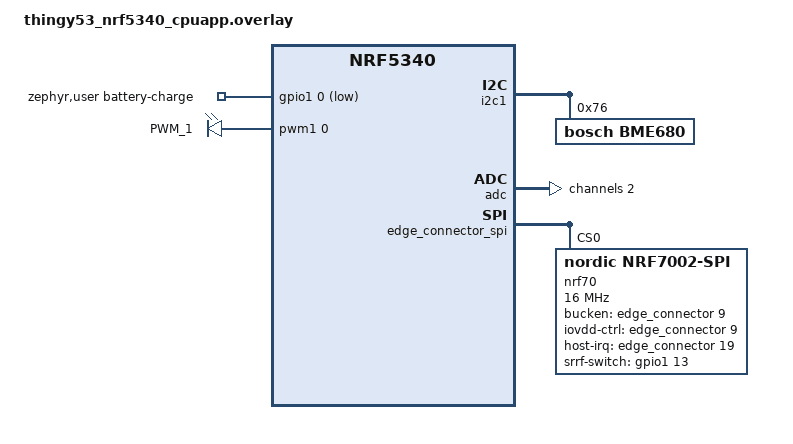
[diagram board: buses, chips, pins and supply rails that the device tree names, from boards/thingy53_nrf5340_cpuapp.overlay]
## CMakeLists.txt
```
# Copyright (c) 2026 Lingao Meng
# SPDX-License-Identifier: Apache-2.0
#
# zbot - An open-source embedded AI Agent for Zephyr RTOS
# Supported boards: nRF7002-DK (nRF5340 + nRF7002 WiFi), native_sim

cmake_minimum_required(VERSION 3.20.0)

find_package(Zephyr REQUIRED HINTS $ENV{ZEPHYR_BASE})

project(zbot VERSION 0.1.0)

target_sources(app PRIVATE
    src/main.c
    src/tools.c
    src/memory.c
    src/config.c
    src/llm_client.c
    src/agent.c
    src/shell_cmd.c
    src/telegram.c
    src/json_util.c
    src/skills/skill.c
)

if(CONFIG_ENVIRONMENT_SENSOR)
    target_sources(app PRIVATE src/env_sensor.c)
endif()

target_include_directories(app PRIVATE src src/skills src/tools)

set(gen_dir ${ZEPHYR_BINARY_DIR}/include/generated/)

# OpenRouter TLS certificate
generate_inc_file_for_target(
    app
    src/certs/openrouter/cert-3.der
    ${gen_dir}/openrouter/https-cert.der.inc
)

configure_file(
    ${CMAKE_CURRENT_SOURCE_DIR}/src/AGENTS.md.in
    ${gen_dir}/AGENTS.md
    @ONLY
)

# Agent system prompt
generate_inc_file_for_target(
    app
    ${gen_dir}/AGENTS.md
    ${gen_dir}/AGENTS.md.inc
)

add_subdirectory(src/tools)
add_subdirectory(src/skills)
```

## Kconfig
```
#
# Copyright (c) 2026 Nordic Semiconductor ASA
#
# SPDX-License-Identifier: LicenseRef-Nordic-5-Clause
#

config ENVIRONMENT_SENSOR
	bool "Environment sensor support"
	default n
	help
	  Enable the environment sensor device for reading temperature,
	  pressure, and humidity.

if ENVIRONMENT_SENSOR

config ENV_SENSOR_GAS_RES_SIM_BASE
	int "Base value of simulated gas resistance value"
	default 10000
	help
	  Gas resistance in Ohm that will be used as a baseline when simulating
	  gas resistance data.

config ENV_SENSOR_GAS_RES_SIM_MAX_DIFF
	int "Max difference from base value of simulated gas resistance"
	default 1000
	help
	  Maximum difference from the base value when simulating gas resistance
	  data.

endif # ENVIRONMENT_SENSOR

config DELAYED_WORK_SKILL
	bool "Delayed work skill support"
	default y
	help
	  Enable delayed work skill for scheduling LLM chat messages
	  with a time delay.

if DELAYED_WORK_SKILL

config DELAYED_WORK_MAX_ITEMS
	int "Maximum number of delayed work items"
	default 3
	range 1 100
	help
	  Maximum number of delayed work items that can be allocated
	  simultaneously. Each item consumes memory for storing the
	  message and work structure.

endif # DELAYED_WORK_SKILL

source "Kconfig.zephyr"
```

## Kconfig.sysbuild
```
#
# Copyright (c) 2024 Nordic Semiconductor ASA
#
# SPDX-License-Identifier: LicenseRef-Nordic-5-Clause
#

config WIFI_NRF70
	default y if BOARD_NRF7002DK_NRF5340_CPUAPP_NS || \
		BOARD_NRF7002DK_NRF5340_CPUAPP || \
		BOARD_THINGY53_NRF5340_CPUAPP || \
		BOARD_NRF54L15DK_NRF54L15_CPUAPP || \
		BOARD_NRF54H20DK_NRF54H20_CPUAPP || \
		BOARD_NRF5340DK_NRF5340_CPUAPP_NS || \
		BOARD_NRF54LM20DK_NRF54LM20A_CPUAPP || \
		BOARD_NRF54LM20DK_NRF54LM20B_CPUAPP

source "share/sysbuild/Kconfig"
```

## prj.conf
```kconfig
# =============================================================================
# zbot - Zephyr AI Agent Configuration (all boards)
# =============================================================================

# --- Kernel / Stack ---
CONFIG_MAIN_STACK_SIZE=2048
CONFIG_SYSTEM_WORKQUEUE_STACK_SIZE=16384

CONFIG_PRINTK=y

# --- Shell (for runtime key configuration) ---
CONFIG_SHELL=y
CONFIG_SHELL_BACKEND_SERIAL=y
CONFIG_SHELL_STACK_SIZE=8172
CONFIG_SHELL_CMD_BUFF_SIZE=512
CONFIG_SHELL_HISTORY=y
CONFIG_SHELL_HISTORY_BUFFER=512
CONFIG_SHELL_LOG_BACKEND=n

# --- Networking ---
CONFIG_NETWORKING=y
CONFIG_NET_IPV4=y
CONFIG_NET_TCP=y
CONFIG_NET_SOCKETS=y
CONFIG_NET_SOCKETS_TLS_MAX_CONTEXTS=4
CONFIG_NET_SOCKETS_TLS_MAX_CREDENTIALS=4
CONFIG_NET_SOCKETS_TLS_MAX_CIPHERSUITES=2
CONFIG_DNS_RESOLVER=y

# --- Network buffers ---
CONFIG_NET_PKT_RX_COUNT=8
CONFIG_NET_PKT_TX_COUNT=8
CONFIG_NET_BUF_RX_COUNT=64
CONFIG_NET_BUF_TX_COUNT=64
# NET_BUF_DATA_SIZE depends on NET_BUF_FIXED_DATA_SIZE; enable the guard first.
CONFIG_NET_BUF_FIXED_DATA_SIZE=y
CONFIG_NET_BUF_DATA_SIZE=256

CONFIG_NET_L2_WIFI_MGMT=y

# --- HTTP Client ---
CONFIG_HTTP_CLIENT=y

# --- TLS / mbedTLS ---
CONFIG_MBEDTLS=y
CONFIG_MBEDTLS_BUILTIN=y
CONFIG_NET_SOCKETS_SOCKOPT_TLS=y
CONFIG_TLS_CREDENTIALS=y
# MBEDTLS_HEAP_SIZE lives inside "if MBEDTLS_ENABLE_HEAP"
CONFIG_MBEDTLS_ENABLE_HEAP=y
CONFIG_MBEDTLS_HEAP_SIZE=65536
CONFIG_MBEDTLS_SSL_MAX_CONTENT_LEN=8192
CONFIG_MBEDTLS_CIPHER_GCM_ENABLED=y
CONFIG_MBEDTLS_SSL_SERVER_NAME_INDICATION=y
CONFIG_MBEDTLS_KEY_EXCHANGE_ECDHE_ECDSA_ENABLED=y

CONFIG_SETTINGS=y
CONFIG_SETTINGS_RUNTIME=y

CONFIG_FLASH=y
CONFIG_FLASH_MAP=y

# --- Logging ---
CONFIG_LOG=y
CONFIG_LOG_DEFAULT_LEVEL=3
CONFIG_LOG_BUFFER_SIZE=4096
CONFIG_LOG_BACKEND_UART=y
CONFIG_PRINTK=y

# --- Reboot support ---
CONFIG_REBOOT=y

CONFIG_POSIX_API=y
#CONFIG_NET_TCP_TIME_WAIT_DELAY=10000

# --- Environment Sensor ---
CONFIG_ENVIRONMENT_SENSOR=y
CONFIG_SENSOR=y

# --- Delayed Work Skill ---
CONFIG_DELAYED_WORK_SKILL=y
CONFIG_NEWLIB_LIBC_FLOAT_PRINTF=y
```

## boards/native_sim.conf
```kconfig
# =============================================================================
# zbot - Board-specific config for native_sim (Linux host simulation)
# =============================================================================

# --- Native networking (offloaded sockets via host stack) ---
# Use the native Linux network stack via offloaded socket API.
CONFIG_NET_DRIVERS=y
CONFIG_NET_SOCKETS_OFFLOAD=y
CONFIG_NET_NATIVE_OFFLOADED_SOCKETS=y
CONFIG_NET_DHCPV4=y

CONFIG_TEST_RANDOM_GENERATOR=y

# --- POSIX / libc ---
# native_sim provides a full libc; enable POSIX API for compatibility.
CONFIG_REQUIRES_FULL_LIBC=y
CONFIG_POSIX_API=y

# Optional but recommended for native_sim + nsos
CONFIG_ETH_NATIVE_TAP=n
CONFIG_NET_IPV6_DAD=n

CONFIG_MBEDTLS_HASH_ALL_ENABLED=y
CONFIG_MBEDTLS_ECP_C=y
CONFIG_MBEDTLS_ECDH_C=y
CONFIG_MBEDTLS_ECDSA_C=y
CONFIG_MBEDTLS_ECP_ALL_ENABLED=y

# --- GPIO emulation ---
# gpio_emul driver is auto-selected by the DTS compatible "zephyr,gpio-emul".
# Explicitly enable it here as a safety net.
CONFIG_GPIO=y
CONFIG_GPIO_EMUL=y

# Debug
CONFIG_NET_LOG=y

# --- Sensor simulator ---
CONFIG_SENSOR=y
CONFIG_SENSOR_SIM=y
```

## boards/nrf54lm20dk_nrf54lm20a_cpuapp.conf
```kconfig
#
# Copyright (c) 2025 Nordic Semiconductor ASA
#
# SPDX-License-Identifier: LicenseRef-Nordic-5-Clause
#

# =============================================================================
# Wi-Fi Driver & Credentials Storage
# Wi-Fi credentials are persisted in ZMS on nRF54 series internal flash.
# Use NVS instead of ZMS on nRF5340.
# =============================================================================
CONFIG_WIFI=y
CONFIG_WIFI_NRF70=y
CONFIG_WIFI_CREDENTIALS=y
CONFIG_FLASH=y
CONFIG_FLASH_PAGE_LAYOUT=y
CONFIG_FLASH_MAP=y
CONFIG_ZMS=y
CONFIG_SETTINGS=y

# =============================================================================
# WPA Supplicant
# =============================================================================
CONFIG_WIFI_NM_WPA_SUPPLICANT=y
CONFIG_WIFI_NM_WPA_SUPPLICANT_LOG_LEVEL_INF=y

# =============================================================================
# L2 Wi-Fi Connectivity Manager
# Automatically manages association; keeps interface up after connect.
# =============================================================================
CONFIG_L2_WIFI_CONNECTIVITY=y
CONFIG_L2_WIFI_CONNECTIVITY_AUTO_CONNECT=y
CONFIG_L2_WIFI_CONNECTIVITY_AUTO_DOWN=n

# =============================================================================
# Network Stack – Core Protocols
# =============================================================================
CONFIG_NET_L2_ETHERNET=y
CONFIG_NET_SOCKETS=y
CONFIG_NET_IPV6=y
CONFIG_NET_UDP=y
CONFIG_NET_TCP=y
CONFIG_NET_DHCPV4=y
CONFIG_DNS_RESOLVER=y
CONFIG_DNS_RESOLVER_AI_MAX_ENTRIES=4

# =============================================================================
# Network Sockets Options
# =============================================================================
CONFIG_NET_SOCKETS_OFFLOAD=n
CONFIG_NET_CONTEXT_SNDTIMEO=y
CONFIG_NET_CONTEXT_RCVTIMEO=y
CONFIG_NET_MAX_CONN=10
CONFIG_NET_MAX_CONTEXTS=10
CONFIG_NET_SOCKETS_TLS_MAX_CONTEXTS=2
CONFIG_ZVFS_POLL_MAX=20

# =============================================================================
# Network Buffers
# Tuned for higher throughput; overrides the initial conservative defaults.
# =============================================================================
CONFIG_NET_PKT_TX_COUNT=20
CONFIG_NET_PKT_RX_COUNT=20
CONFIG_NET_BUF_TX_COUNT=20
CONFIG_NET_BUF_RX_COUNT=20
CONFIG_NET_PKT_BUF_TX_DATA_POOL_SIZE=20000
CONFIG_NET_PKT_BUF_RX_DATA_POOL_SIZE=20000

# =============================================================================
# nRF70 Wi-Fi Driver Tuning
# SPEED_OPTIMIZATIONS is enabled on nRF54 series (disabled on nRF5340).
# =============================================================================
CONFIG_NRF70_AP_MODE=n
CONFIG_NRF70_P2P_MODE=n
CONFIG_NRF70_QSPI_LOW_POWER=n
CONFIG_NRF70_UTIL=n
CONFIG_NRF70_RX_NUM_BUFS=48
CONFIG_NRF70_MAX_TX_AGGREGATION=4
CONFIG_NRF70_MAX_TX_TOKENS=5
CONFIG_SPEED_OPTIMIZATIONS=y

# =============================================================================
# TLS / mbedTLS
# Legacy crypto symbols are needed for TF-M NS builds because
# config_adjust_legacy_from_psa.h is gated behind MBEDTLS_PSA_CRYPTO_C
# (not set on NS side), so MBEDTLS_ECDH_C, MBEDTLS_ECDSA_C, MBEDTLS_RSA_C
# etc. are never auto-derived from PSA_WANT_*. Without them the OID sig-alg
# table and TLS supported_groups are incomplete.
# =============================================================================
CONFIG_NET_SOCKETS_SOCKOPT_TLS=y
CONFIG_NRF_SECURITY=y
CONFIG_MBEDTLS=y
CONFIG_MBEDTLS_ENABLE_HEAP=y
CONFIG_MBEDTLS_SSL_KEEP_PEER_CERTIFICATE=n
CONFIG_MBEDTLS_SSL_SERVER_NAME_INDICATION=y
CONFIG_MBEDTLS_PEM_PARSE_C=y
CONFIG_TLS_CREDENTIALS=y
CONFIG_TLS_CREDENTIALS_BACKEND_VOLATILE=y
CONFIG_MBEDTLS_LEGACY_CRYPTO_C=y
CONFIG_MBEDTLS_ECDH_C=y
CONFIG_MBEDTLS_ECDSA_C=y
CONFIG_MBEDTLS_RSA_C=y
CONFIG_MBEDTLS_ECP_DP_SECP256R1_ENABLED=y
CONFIG_MBEDTLS_ECP_DP_SECP384R1_ENABLED=y

# =============================================================================
# Shell
# =============================================================================
CONFIG_SHELL=y
CONFIG_SHELL_CMDS_RESIZE=n
CONFIG_NET_L2_WIFI_SHELL=y

# =============================================================================
# Kernel / POSIX Options
# Disable unused POSIX subsystems to reduce ROM/RAM footprint.
# =============================================================================
CONFIG_POSIX_NETWORKING=y
CONFIG_POSIX_FD_MGMT=n
CONFIG_POSIX_MESSAGE_PASSING=n
CONFIG_POSIX_THREAD_THREADS_MAX=0

# =============================================================================
# Stack Sizes
# MAIN and SHELL are enlarged because select/poll consume extra stack.
# =============================================================================
CONFIG_NET_TX_STACK_SIZE=2048
CONFIG_NET_RX_STACK_SIZE=2048
CONFIG_NET_MGMT_EVENT_STACK_SIZE=4600
CONFIG_NRF70_IRQ_WQ_STACK_SIZE=1024
CONFIG_NRF70_BH_WQ_STACK_SIZE=2300
CONFIG_ISR_STACK_SIZE=512
CONFIG_MAIN_STACK_SIZE=5200
CONFIG_SHELL_STACK_SIZE=5200

# =============================================================================
# Heap Sizes
# nRF54 series has more RAM; heap pools are set larger than on nRF5340.
# HEAP_MEM_POOL_IGNORE_MIN suppresses the linker error when the combined
# pool size exceeds the internal RAM minimum threshold.
# =============================================================================
CONFIG_HEAP_MEM_POOL_IGNORE_MIN=y
CONFIG_HEAP_MEM_POOL_SIZE=37000
CONFIG_MBEDTLS_HEAP_SIZE=100000
CONFIG_NRF_WIFI_CTRL_HEAP_SIZE=15000
CONFIG_NRF_WIFI_DATA_HEAP_SIZE=100000

# =============================================================================
# Network Logging / Debug
# =============================================================================
#CONFIG_LOG=y
CONFIG_NET_LOG=y
#CONFIG_NET_SOCKETS_LOG_LEVEL_DBG=y
#CONFIG_NET_HTTP_LOG_LEVEL_DBG=n
#CONFIG_NET_IPV6_LOG_LEVEL_DBG=n
#CONFIG_NET_IPV6_ND_LOG_LEVEL_DBG=n

# =============================================================================
# Sensor Simulator
# =============================================================================
CONFIG_SENSOR=y
CONFIG_SENSOR_SIM=y
```

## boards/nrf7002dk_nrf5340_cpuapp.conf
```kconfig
#
# Copyright (c) 2025 Nordic Semiconductor ASA
#
# SPDX-License-Identifier: LicenseRef-Nordic-5-Clause
#

# =============================================================================
# Wi-Fi Driver & Credentials Storage
# Wi-Fi credentials are persisted in NVS on nRF5340 internal flash.
# Use ZMS instead of NVS on nRF54 series.
# =============================================================================
CONFIG_WIFI=y
CONFIG_WIFI_NRF70=y
CONFIG_WIFI_CREDENTIALS=y
CONFIG_FLASH=y
CONFIG_FLASH_PAGE_LAYOUT=y
CONFIG_FLASH_MAP=y
#CONFIG_ZMS=y
CONFIG_NVS=y
CONFIG_SETTINGS=y

# =============================================================================
# WPA Supplicant
# =============================================================================
CONFIG_WIFI_NM_WPA_SUPPLICANT=y
CONFIG_WIFI_NM_WPA_SUPPLICANT_LOG_LEVEL_INF=y

# =============================================================================
# L2 Wi-Fi Connectivity Manager
# Automatically manages association; keeps interface up after connect.
# =============================================================================
CONFIG_L2_WIFI_CONNECTIVITY=y
CONFIG_L2_WIFI_CONNECTIVITY_AUTO_CONNECT=y
CONFIG_L2_WIFI_CONNECTIVITY_AUTO_DOWN=n

# =============================================================================
# Network Stack – Core Protocols
# =============================================================================
CONFIG_NET_L2_ETHERNET=y
CONFIG_NET_SOCKETS=y
CONFIG_NET_IPV6=y
CONFIG_NET_UDP=y
CONFIG_NET_TCP=y
CONFIG_NET_DHCPV4=y
CONFIG_DNS_RESOLVER=y
CONFIG_DNS_RESOLVER_AI_MAX_ENTRIES=4

# =============================================================================
# Network Sockets Options
# =============================================================================
CONFIG_NET_SOCKETS_OFFLOAD=n
CONFIG_NET_CONTEXT_SNDTIMEO=y
CONFIG_NET_CONTEXT_RCVTIMEO=y
CONFIG_NET_MAX_CONN=10
CONFIG_NET_MAX_CONTEXTS=10
CONFIG_NET_SOCKETS_TLS_MAX_CONTEXTS=2
CONFIG_ZVFS_POLL_MAX=20

# =============================================================================
# Network Buffers
# Tuned for higher throughput; overrides the initial conservative defaults.
# =============================================================================
CONFIG_NET_PKT_TX_COUNT=10
CONFIG_NET_PKT_RX_COUNT=10
CONFIG_NET_BUF_TX_COUNT=24
CONFIG_NET_BUF_RX_COUNT=16
CONFIG_NET_PKT_BUF_TX_DATA_POOL_SIZE=24000
CONFIG_NET_PKT_BUF_RX_DATA_POOL_SIZE=16000

# =============================================================================
# nRF70 Wi-Fi Driver Tuning
# =============================================================================
CONFIG_NRF70_AP_MODE=n
CONFIG_NRF70_P2P_MODE=n
CONFIG_NRF70_QSPI_LOW_POWER=n
CONFIG_NRF70_UTIL=n
CONFIG_NRF70_RX_NUM_BUFS=48
CONFIG_NRF70_MAX_TX_AGGREGATION=4
CONFIG_NRF70_MAX_TX_TOKENS=5
#CONFIG_SPEED_OPTIMIZATIONS=y          # Disabled on nRF5340; enabled on nRF54 series

# =============================================================================
# TLS / mbedTLS
# Legacy crypto symbols are needed for TF-M NS builds because
# config_adjust_legacy_from_psa.h is gated behind MBEDTLS_PSA_CRYPTO_C
# (not set on NS side), so MBEDTLS_ECDH_C, MBEDTLS_ECDSA_C, MBEDTLS_RSA_C
# etc. are never auto-derived from PSA_WANT_*. Without them the OID sig-alg
# table and TLS supported_groups are incomplete.
# =============================================================================
CONFIG_NET_SOCKETS_SOCKOPT_TLS=y
CONFIG_NRF_SECURITY=y
CONFIG_MBEDTLS=y
CONFIG_MBEDTLS_ENABLE_HEAP=y
CONFIG_MBEDTLS_SSL_KEEP_PEER_CERTIFICATE=n
CONFIG_MBEDTLS_SSL_SERVER_NAME_INDICATION=y
CONFIG_MBEDTLS_PEM_PARSE_C=y
CONFIG_TLS_CREDENTIALS=y
CONFIG_TLS_CREDENTIALS_BACKEND_VOLATILE=y
CONFIG_MBEDTLS_LEGACY_CRYPTO_C=y
CONFIG_MBEDTLS_ECDH_C=y
CONFIG_MBEDTLS_ECDSA_C=y
CONFIG_MBEDTLS_RSA_C=y
CONFIG_MBEDTLS_ECP_DP_SECP256R1_ENABLED=y
CONFIG_MBEDTLS_ECP_DP_SECP384R1_ENABLED=y

# =============================================================================
# Shell
# =============================================================================
CONFIG_SHELL=y
CONFIG_SHELL_CMDS_RESIZE=n
#CONFIG_NET_L2_WIFI_SHELL=y

# =============================================================================
# Kernel / POSIX Options
# Disable unused POSIX subsystems to reduce ROM/RAM footprint.
# =============================================================================
CONFIG_POSIX_NETWORKING=y
CONFIG_POSIX_FD_MGMT=n
CONFIG_POSIX_MESSAGE_PASSING=n
CONFIG_POSIX_THREAD_THREADS_MAX=0

# =============================================================================
# Stack Sizes
# MAIN and SHELL are enlarged because select/poll consume extra stack.
# =============================================================================
CONFIG_NET_TX_STACK_SIZE=4096
CONFIG_NET_RX_STACK_SIZE=2048
CONFIG_NET_MGMT_EVENT_STACK_SIZE=4600
CONFIG_NET_MGMT_EVENT_QUEUE_SIZE=32
CONFIG_NRF70_IRQ_WQ_STACK_SIZE=1024
CONFIG_NRF70_BH_WQ_STACK_SIZE=2300
CONFIG_ISR_STACK_SIZE=512
CONFIG_MAIN_STACK_SIZE=5200
CONFIG_SHELL_STACK_SIZE=5200

# =============================================================================
# Heap Sizes
# HEAP_MEM_POOL_IGNORE_MIN suppresses the linker error when the combined
# pool size exceeds the nRF5340 internal RAM minimum threshold.
# =============================================================================
CONFIG_HEAP_MEM_POOL_IGNORE_MIN=y
CONFIG_HEAP_MEM_POOL_SIZE=37000
CONFIG_MBEDTLS_HEAP_SIZE=100000
CONFIG_NRF_WIFI_CTRL_HEAP_SIZE=15000
CONFIG_NRF_WIFI_DATA_HEAP_SIZE=100000

# =============================================================================
# Network Logging / Debug
# =============================================================================
#CONFIG_LOG=y
CONFIG_NET_LOG=y
#CONFIG_NET_SOCKETS_LOG_LEVEL_DBG=y
#CONFIG_NET_HTTP_LOG_LEVEL_DBG=n
#CONFIG_NET_IPV6_LOG_LEVEL_DBG=n
#CONFIG_NET_IPV6_ND_LOG_LEVEL_DBG=n

# =============================================================================
# Sensor Simulator
# =============================================================================
CONFIG_SENSOR=y
CONFIG_SENSOR_SIM=y
```

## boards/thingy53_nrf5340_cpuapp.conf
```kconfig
#
# Copyright (c) 2025 Nordic Semiconductor ASA
#
# SPDX-License-Identifier: LicenseRef-Nordic-5-Clause
#

# =============================================================================
# Wi-Fi Driver & Credentials Storage
# Wi-Fi credentials are persisted in NVS on nRF5340 internal flash.
# Use ZMS instead of NVS on nRF54 series.
# =============================================================================
CONFIG_WIFI=y
CONFIG_WIFI_NRF70=y
CONFIG_WIFI_CREDENTIALS=y
CONFIG_FLASH=y
CONFIG_FLASH_PAGE_LAYOUT=y
CONFIG_FLASH_MAP=y
#CONFIG_ZMS=y
CONFIG_NVS=y
CONFIG_SETTINGS=y

# =============================================================================
# WPA Supplicant
# =============================================================================
CONFIG_WIFI_NM_WPA_SUPPLICANT=y
CONFIG_WIFI_NM_WPA_SUPPLICANT_LOG_LEVEL_INF=y

# =============================================================================
# L2 Wi-Fi Connectivity Manager
# Automatically manages association; keeps interface up after connect.
# =============================================================================
CONFIG_L2_WIFI_CONNECTIVITY=y
CONFIG_L2_WIFI_CONNECTIVITY_AUTO_CONNECT=y
CONFIG_L2_WIFI_CONNECTIVITY_AUTO_DOWN=n

# =============================================================================
# Network Stack – Core Protocols
# =============================================================================
CONFIG_NET_L2_ETHERNET=y
CONFIG_NET_SOCKETS=y
CONFIG_NET_IPV6=y
CONFIG_NET_UDP=y
CONFIG_NET_TCP=y
CONFIG_NET_DHCPV4=y
CONFIG_DNS_RESOLVER=y
CONFIG_DNS_RESOLVER_AI_MAX_ENTRIES=4

# =============================================================================
# Network Sockets Options
# =============================================================================
CONFIG_NET_SOCKETS_OFFLOAD=n
CONFIG_NET_CONTEXT_SNDTIMEO=y
CONFIG_NET_CONTEXT_RCVTIMEO=y
CONFIG_NET_MAX_CONN=10
CONFIG_NET_MAX_CONTEXTS=10
CONFIG_NET_SOCKETS_TLS_MAX_CONTEXTS=2
CONFIG_ZVFS_POLL_MAX=20

# =============================================================================
# Network Buffers
# Tuned for higher throughput; overrides the initial conservative defaults.
# =============================================================================
CONFIG_NET_PKT_TX_COUNT=10
CONFIG_NET_PKT_RX_COUNT=10
CONFIG_NET_BUF_TX_COUNT=24
CONFIG_NET_BUF_RX_COUNT=16
CONFIG_NET_PKT_BUF_TX_DATA_POOL_SIZE=24000
CONFIG_NET_PKT_BUF_RX_DATA_POOL_SIZE=16000

# =============================================================================
# nRF70 Wi-Fi Driver Tuning
# =============================================================================
CONFIG_NRF70_AP_MODE=n
CONFIG_NRF70_P2P_MODE=n
CONFIG_NRF70_QSPI_LOW_POWER=n
CONFIG_NRF70_UTIL=n
CONFIG_NRF70_RX_NUM_BUFS=48
CONFIG_NRF70_MAX_TX_AGGREGATION=4
CONFIG_NRF70_MAX_TX_TOKENS=5
#CONFIG_SPEED_OPTIMIZATIONS=y          # Disabled on nRF5340; enabled on nRF54 series

# =============================================================================
# TLS / mbedTLS
# Legacy crypto symbols are needed for TF-M NS builds because
# config_adjust_legacy_from_psa.h is gated behind MBEDTLS_PSA_CRYPTO_C
# (not set on NS side), so MBEDTLS_ECDH_C, MBEDTLS_ECDSA_C, MBEDTLS_RSA_C
# etc. are never auto-derived from PSA_WANT_*. Without them the OID sig-alg
# table and TLS supported_groups are incomplete.
# =============================================================================
CONFIG_NET_SOCKETS_SOCKOPT_TLS=y
CONFIG_NRF_SECURITY=y
CONFIG_MBEDTLS=y
CONFIG_MBEDTLS_ENABLE_HEAP=y
CONFIG_MBEDTLS_SSL_KEEP_PEER_CERTIFICATE=n
CONFIG_MBEDTLS_SSL_SERVER_NAME_INDICATION=y
CONFIG_MBEDTLS_PEM_PARSE_C=y
CONFIG_TLS_CREDENTIALS=y
CONFIG_TLS_CREDENTIALS_BACKEND_VOLATILE=y
CONFIG_MBEDTLS_LEGACY_CRYPTO_C=y
CONFIG_MBEDTLS_ECDH_C=y
CONFIG_MBEDTLS_ECDSA_C=y
CONFIG_MBEDTLS_RSA_C=y
CONFIG_MBEDTLS_ECP_DP_SECP256R1_ENABLED=y
CONFIG_MBEDTLS_ECP_DP_SECP384R1_ENABLED=y

# =============================================================================
# Shell
# =============================================================================
CONFIG_SHELL=y
CONFIG_SHELL_CMDS_RESIZE=n
#CONFIG_NET_L2_WIFI_SHELL=y

# =============================================================================
# Kernel / POSIX Options
# Disable unused POSIX subsystems to reduce ROM/RAM footprint.
# =============================================================================
CONFIG_POSIX_NETWORKING=y
CONFIG_POSIX_FD_MGMT=n
CONFIG_POSIX_MESSAGE_PASSING=n
CONFIG_POSIX_THREAD_THREADS_MAX=0

# =============================================================================
# Stack Sizes
# MAIN and SHELL are enlarged because select/poll consume extra stack.
# =============================================================================
CONFIG_NET_TX_STACK_SIZE=4096
CONFIG_NET_RX_STACK_SIZE=2048
CONFIG_NET_MGMT_EVENT_STACK_SIZE=4600
CONFIG_NET_MGMT_EVENT_QUEUE_SIZE=32
CONFIG_NRF70_IRQ_WQ_STACK_SIZE=1024
CONFIG_NRF70_BH_WQ_STACK_SIZE=2300
CONFIG_ISR_STACK_SIZE=512
CONFIG_MAIN_STACK_SIZE=5200
CONFIG_SHELL_STACK_SIZE=5200

# =============================================================================
# Heap Sizes
# HEAP_MEM_POOL_IGNORE_MIN suppresses the linker error when the combined
# pool size exceeds the nRF5340 internal RAM minimum threshold.
# =============================================================================
CONFIG_HEAP_MEM_POOL_IGNORE_MIN=y
CONFIG_HEAP_MEM_POOL_SIZE=37000
CONFIG_MBEDTLS_HEAP_SIZE=100000
CONFIG_NRF_WIFI_CTRL_HEAP_SIZE=15000
CONFIG_NRF_WIFI_DATA_HEAP_SIZE=100000

# =============================================================================
# Network Logging / Debug
# =============================================================================
#CONFIG_LOG=y
CONFIG_NET_LOG=y
#CONFIG_NET_SOCKETS_LOG_LEVEL_DBG=y
#CONFIG_NET_HTTP_LOG_LEVEL_DBG=n
#CONFIG_NET_IPV6_LOG_LEVEL_DBG=n
#CONFIG_NET_IPV6_ND_LOG_LEVEL_DBG=n


# Buzzer (PWM)
CONFIG_PWM=y

# Battery measurement (ADC)
CONFIG_ADC=y

# Power profiling
#CONFIG_AVERAGE_CURRENT_CONSUMPTION=10000

# UART console and shell
CONFIG_SHELL_LOG_BACKEND=y
CONFIG_SHELL_BACKEND_SERIAL_INIT_PRIORITY=51
CONFIG_LOG_MODE_DEFERRED=y
CONFIG_LOG_PROCESS_THREAD_STACK_SIZE=1024
CONFIG_LOG_BUFFER_SIZE=8192
CONFIG_LOG_FUNC_NAME_PREFIX_DBG=n

# USB CDC ACM
CONFIG_USB_DEVICE_STACK_NEXT=y
CONFIG_CDC_ACM_SERIAL_MANUFACTURER_STRING="Nordic Semiconductor ASA"
CONFIG_CDC_ACM_SERIAL_PRODUCT_STRING="Thingy:53 Matter Weather"
CONFIG_CDC_ACM_SERIAL_VID=0x1915
CONFIG_CDC_ACM_SERIAL_PID=0x530D
CONFIG_UART_LINE_CTRL=y

# NVS settings partition size (64 kB for this application on Thingy:53)
CONFIG_SETTINGS_NVS_SECTOR_COUNT=16

CONFIG_SPI=y
CONFIG_FLASH=y
CONFIG_SPI_NOR=y
CONFIG_SPI_NOR_FLASH_LAYOUT_PAGE_SIZE=4096
CONFIG_SPI_NOR_SFDP_DEVICETREE=y
CONFIG_I2C=y

CONFIG_USB_DEVICE_REMOTE_WAKEUP=n
CONFIG_USB_DEVICE_INITIALIZE_AT_BOOT=y

CONFIG_SHELL_BACKEND_SERIAL_RX_RING_BUFFER_SIZE=512
CONFIG_SHELL_BACKEND_SERIAL_TX_RING_BUFFER_SIZE=512

# --- BME680/BME688 Environment Sensor ---
CONFIG_SENSOR=y
CONFIG_BME680=y
```

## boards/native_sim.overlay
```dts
/*
 * Copyright (c) 2026 Lingao Meng
 *
 * SPDX-License-Identifier: Apache-2.0
 *
 * zbot - native_sim GPIO overlay
 *
 * The native_sim base DTS already provides:
 *   gpio0 (zephyr,gpio-emul) — pin 0 → led0
 *
 * This overlay extends gpio0 to 3 pins and adds led1 + sw0 (button0)
 * so that gpio_read / gpio_write tools work the same as on nRF7002-DK.
 */

#include <zephyr/dt-bindings/gpio/gpio.h>

/* Extend the emulated GPIO controller to cover the pins we need */
&gpio0 {
	ngpios = <3>;
};

/ {
	leds {
		compatible = "gpio-leds";

		led1: led_1 {
			gpios = <&gpio0 1 GPIO_ACTIVE_HIGH>;
			label = "Blue LED";
		};
	};

	buttons {
		compatible = "gpio-keys";

		button0: button_0 {
			gpios = <&gpio0 2 (GPIO_PULL_UP | GPIO_ACTIVE_LOW)>;
			label = "Button 0";
		};
	};

	aliases {
		led1 = &led1;
		sw0  = &button0;
	};

	sensor_sim: sensor-sim {
		compatible = "nordic,sensor-sim";
		acc-signal = "wave";
	};
};
```

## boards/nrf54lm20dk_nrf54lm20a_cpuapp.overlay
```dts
/*
 * Copyright (c) 2026 Lingao Meng
 *
 * SPDX-License-Identifier: Apache-2.0
 *
 * zbot - nRF54L20-DK overlay
 */

/ {
	sensor_sim: sensor-sim {
		compatible = "nordic,sensor-sim";
		acc-signal = "wave";
	};
};
```

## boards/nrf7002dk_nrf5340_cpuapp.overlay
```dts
/*
 * Copyright (c) 2026 Lingao Meng
 *
 * SPDX-License-Identifier: Apache-2.0
 *
 * zbot - nRF7002-DK overlay
 */

/ {
	sensor_sim: sensor-sim {
		compatible = "nordic,sensor-sim";
		acc-signal = "wave";
	};
};
```

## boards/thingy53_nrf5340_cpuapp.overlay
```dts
/*
 * Copyright (c) 2021 Nordic Semiconductor ASA
 *
 * SPDX-License-Identifier: LicenseRef-Nordic-5-Clause
 */

#include <zephyr/dt-bindings/ipc_service/static_vrings.h>

/ {
	zephyr,user {
		battery-charge-gpios = <&gpio1 0 (GPIO_PULL_UP | GPIO_ACTIVE_LOW)>;
	};

	pwmbuzzer {
		compatible = "pwm-leds";
		status = "okay";

		buzzer: buzzer_pwm {
			pwms = <&pwm1 0 PWM_HZ(100) PWM_POLARITY_NORMAL>;
			label = "PWM_1";
		};
	};

	aliases {
		buzzer-pwm = &buzzer;
	};
};

/* Set IPC thread priority to the highest value to not collide with other threads. */
&ipc0 {
	zephyr,priority = <0 PRIO_COOP>;
};

&i2c1 {
	bme680: bme688@76 {
		compatible = "bosch,bme680";
		reg = <0x76>;
	};
};

&adc {
	#address-cells = <1>;
	#size-cells = <0>;

	channel@2 {
		reg = <2>;
		zephyr,gain = "ADC_GAIN_1";
		zephyr,reference = "ADC_REF_INTERNAL";
		zephyr,acquisition-time = <ADC_ACQ_TIME(ADC_ACQ_TIME_MICROSECONDS, 40)>;
		zephyr,input-positive = <NRF_SAADC_AIN2>;
		zephyr,resolution = <12>;
		zephyr,oversampling = <4>;
	};
};

/* Disable unused peripherals to reduce power consumption */
&pwm0 {
	status = "disabled";
};

&pwm2 {
	status = "disabled";
};

/* Reduce SRAM0 usage by 7360 B to account for non-init area */
&sram0 {
	reg = <0x20000000 0x7e340>;
};


&edge_connector_spi {
	status = "okay";

	nrf70: nrf7002@0 {
		compatible = "nordic,nrf7002-spi";
		status = "okay";
		reg = <0>;
		spi-max-frequency = <DT_FREQ_M(16)>;

		bucken-gpios = <&edge_connector 9 (GPIO_ACTIVE_HIGH | GPIO_PULL_DOWN)>;
		iovdd-ctrl-gpios = <&edge_connector 9 (GPIO_ACTIVE_HIGH | GPIO_PULL_DOWN)>;
		host-irq-gpios = <&edge_connector 19 GPIO_ACTIVE_HIGH>;
		srrf-switch-gpios = <&gpio1 13 GPIO_ACTIVE_HIGH>;

		wlan0: wlan0 {
			compatible = "nordic,wlan";
		};

		wlan1: wlan1 {
			compatible = "nordic,wlan";
		};

		wifi-max-tx-pwr-2g-dsss = <21>;
		wifi-max-tx-pwr-2g-mcs0 = <16>;
		wifi-max-tx-pwr-2g-mcs7 = <16>;
		wifi-max-tx-pwr-5g-low-mcs0 = <13>;
		wifi-max-tx-pwr-5g-low-mcs7 = <13>;
		wifi-max-tx-pwr-5g-mid-mcs0 = <13>;
		wifi-max-tx-pwr-5g-mid-mcs7 = <13>;
		wifi-max-tx-pwr-5g-high-mcs0 = <12>;
		wifi-max-tx-pwr-5g-high-mcs7 = <12>;
	};
};
```

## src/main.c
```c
/*
 * Copyright (c) 2026 Lingao Meng
 *
 * SPDX-License-Identifier: Apache-2.0
 *
 * zbot - Main Entry Point
 *
 * WiFi (boards with CONFIG_WIFI, e.g. nRF7002-DK):
 *   Use 'zbot wifi connect <ssid> [pass]' to connect and save credentials.
 *   On next boot, config_init() auto-connects using the saved credentials.
 *
 * Without WiFi (e.g. native_sim):
 *   The network stack is provided by the host OS; no WiFi management needed.
 *
 * API key:
 *   'zbot key <key>'  — set and persist to flash
 */

#include <zephyr/kernel.h>
#include <zephyr/logging/log.h>
#include <zephyr/net/net_if.h>
#if defined(CONFIG_WIFI)
#include <zephyr/net/net_event.h>
#include <zephyr/net/wifi_mgmt.h>
#endif

#include "config.h"
#include "memory.h"
#include "llm_client.h"
#include "agent.h"
#include "tools.h"
#include "telegram.h"

#if defined(CONFIG_BOARD_THINGY53_NRF5340_CPUAPP)
#include <nrfx_clock.h>
#endif

LOG_MODULE_REGISTER(zbot_main, LOG_LEVEL_INF);

#if defined(CONFIG_WIFI)
#define WIFI_MGMT_EVENTS (NET_EVENT_WIFI_CONNECT_RESULT | NET_EVENT_WIFI_DISCONNECT_RESULT)

static struct net_mgmt_event_callback g_wifi_cb;
static K_SEM_DEFINE(g_wifi_connected_sem, 0, 1);
static volatile bool g_wifi_connected;
static volatile bool g_tg_running;

static void telegram_trigger(struct k_work *work);
static K_WORK_DEFINE(telegram_trigger_work, telegram_trigger);

static void telegram_trigger(struct k_work *work)
{
	int rc = telegram_start();
	if (rc < 0) {
		LOG_WRN("Telegram auto-start failed: %d", rc);
	}
}

static void wifi_event_handler(struct net_mgmt_event_callback *cb, uint64_t mgmt_event,
			       struct net_if *iface)
{
	if (mgmt_event == NET_EVENT_WIFI_CONNECT_RESULT) {
		const struct wifi_status *status = (const struct wifi_status *)cb->info;

		if (status->status == 0) {
			LOG_INF("WiFi connected!");
			g_wifi_connected = true;
			k_sem_give(&g_wifi_connected_sem);
		} else {
			LOG_WRN("WiFi connect failed (status %d)", status->status);
		}
		if (g_tg_running && !g_wifi_connected) {
			LOG_WRN("WiFi disconnected while Telegram bot is running. Stopping Telegram polling.");
			telegram_stop();
		} else if (!g_tg_running && g_wifi_connected && config_has_tg_token()) {
			LOG_INF("WiFi connected and Telegram token available. Starting Telegram polling.");
			k_work_submit(&telegram_trigger_work);
		}
	} else if (mgmt_event == NET_EVENT_WIFI_DISCONNECT_RESULT) {
		LOG_WRN("WiFi disconnected");
		g_wifi_connected = false;
	}
}
#endif /* CONFIG_WIFI */

static void print_banner(void)
{
	printk("\n");
	printk("╔══════════════════════════════════════════════╗\n");
	printk("║        zbot - Embedded AI Agent              ║\n");
	printk("║   Board: %-36s║\n", CONFIG_BOARD "  |  Zephyr RTOS");
	printk("║   Version: 0.1.0     |  License: Apache-2.0  ║\n");
	printk("╚══════════════════════════════════════════════╝\n");
	printk("\n");
	printk("Quick start:\n");
#if defined(CONFIG_WIFI)
	printk("  1. Connect to WiFi (saves credentials for auto-connect):\n");
	printk("       zbot wifi connect <SSID> <password>\n");
	printk("  2. Set API key (saved to flash):\n");
	printk("       zbot key sk-...\n");
#else
	printk("  1. Set API key (saved to flash):\n");
	printk("       zbot key sk-...\n");
#endif
	printk("  2. [Optional] Change model/endpoint:\n");
	printk("       zbot model gpt-4o-mini\n");
	printk("       zbot host openrouter.ai\n");
	printk("  3. Chat:\n");
	printk("       Hello! What can you do?\n");
	printk("  4. Telegram bot (optional):\n");
	printk("       zbot telegram token <BOT_TOKEN>\n");
	printk("       zbot telegram start\n");
	printk("  5. Other commands:\n");
	printk("       zbot status              -- show config\n");
#if defined(CONFIG_WIFI)
	printk("       zbot wifi status         -- show saved WiFi SSID\n");
#endif
	printk("       zbot history             -- show conversation\n");
	printk("       zbot summary             -- show NVS summary\n");
	printk("       zbot skill list\n");
	printk("       zbot tools\n");
	printk("\n");
}

int main(void)
{
	const char *summary;
	int rc;

	printk("Start\n");
#if defined(CONFIG_BOARD_THINGY53_NRF5340_CPUAPP)
#if NRFX_CLOCK_ENABLED && (defined(CLOCK_FEATURE_HFCLK_DIVIDE_PRESENT) || NRF_CLOCK_HAS_HFCLK192M)
    /* set clock to 128 MHz */
    nrfx_clock_divider_set(NRF_CLOCK_DOMAIN_HFCLK, NRF_CLOCK_HFCLK_DIV_1);
#endif
#endif //CONFIG_BOARD_THINGY53_NRF5340_CPUAPP

    printk("CPU frequency: %d MHz\n", SystemCoreClock / MHZ(1));
	/* Memory — NVS mount and load persisted summary */
	rc = memory_init();
	if (rc < 0) {
		LOG_WRN("Memory/NVS init warning: %d (continuing without persistence)", rc);
	}

#if defined(CONFIG_WIFI)
	/* Register WiFi event callback */
	net_mgmt_init_event_callback(&g_wifi_cb, wifi_event_handler, WIFI_MGMT_EVENTS);
	net_mgmt_add_event_callback(&g_wifi_cb);
#endif

	/* Config — load API key + (if WiFi board) credentials from NVS; auto-connect */
	config_init();

	/* LLM client — register TLS CA certificate once at boot */
	llm_client_init();

	/* Agent */
	rc = agent_init();
	if (rc < 0) {
		LOG_ERR("Agent init failed: %d", rc);
		return rc;
	}

	/* Telegram */
	if (config_has_tg_token()) {
#if 0
		rc = telegram_start();
		if (rc < 0) {
			LOG_WRN("Telegram auto-start failed: %d", rc);
		}
#endif
	}

	/* Print banner */
	print_banner();

	/* Log persisted summary if available */
	summary = memory_get_summary();
	if (summary != NULL) {
		LOG_DBG("Loaded prior context from NVS: %.80s...", summary);
		printk("  [Prior session context loaded from NVS]\n\n");
	}

	/* Idle — shell handles everything else */
	while (1) {
		k_sleep(K_SECONDS(30));

#if defined(CONFIG_WIFI)
		if (g_wifi_connected) {
			LOG_DBG("Heartbeat — WiFi up");
		}
#endif
	}

	return 0;
}
```

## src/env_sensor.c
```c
/*
 * Copyright (c) 2026 Nordic Semiconductor ASA
 *
 * SPDX-License-Identifier: LicenseRef-Nordic-5-Clause
 */

#include <zephyr/kernel.h>
#include <zephyr/drivers/sensor.h>
#include <stdlib.h>

#include <zephyr/logging/log.h>
LOG_MODULE_REGISTER(env_sensor, CONFIG_LOG_DEFAULT_LEVEL);

#if DT_NODE_HAS_STATUS(DT_NODELABEL(sensor_sim), okay)
#define ENV_SENSOR_NODE DT_NODELABEL(sensor_sim)
#define GAS_RES_SIM_BASE CONFIG_ENV_SENSOR_GAS_RES_SIM_BASE
#define GAS_RES_SIM_MAX_DIFF CONFIG_ENV_SENSOR_GAS_RES_SIM_MAX_DIFF
#else
#define ENV_SENSOR_NODE DT_NODELABEL(bme680)
#endif

static const struct device *env_sensor_dev = DEVICE_DT_GET(ENV_SENSOR_NODE);

static int read_sensor(struct sensor_value *value, enum sensor_channel channel)
{
	int ret;

	ret = sensor_sample_fetch(env_sensor_dev);
	if (ret) {
		LOG_ERR("Fetch sample failed (%d)", ret);
		return ret;
	}

	ret = sensor_channel_get(env_sensor_dev, channel, value);
	if (ret) {
		LOG_ERR("Get channel failed (%d)", ret);
		return ret;
	}

	return 0;
}

int env_sensor_read_temperature(struct sensor_value *temp_val)
{
	int ret;

	ret = read_sensor(temp_val, SENSOR_CHAN_AMBIENT_TEMP);
	if (ret) {
		LOG_ERR("Read temperature sensor failed (%d)", ret);
		return ret;
	}
	LOG_INF("Temperature: %d.%06d C", temp_val->val1, temp_val->val2);

	return 0;
}

int env_sensor_read_pressure(struct sensor_value *press_value)
{
	int ret;

	ret = read_sensor(press_value, SENSOR_CHAN_PRESS);
	if (ret) {
		LOG_ERR("Read pressure sensor failed (%d)", ret);
		return ret;
	}

	return 0;
}

int env_sensor_read_humidity(struct sensor_value *humid_val)
{
	int ret;

	ret = read_sensor(humid_val, SENSOR_CHAN_HUMIDITY);
	if (ret) {
		LOG_ERR("Read humidity sensor failed (%d)", ret);
		return ret;
	}

	return 0;
}

int env_sensor_read_gas_resistance(struct sensor_value *gas_res_val)
{
#if !DT_NODE_HAS_STATUS(DT_NODELABEL(sensor_sim), okay)
	int ret;

	ret = read_sensor(gas_res_val, SENSOR_CHAN_GAS_RES);
	if (ret) {
		LOG_ERR("Read gas resistance sensor failed (%d)", ret);
		return ret;
	}
#else
	int32_t sim_val =
		MAX(0, GAS_RES_SIM_BASE + (rand() % GAS_RES_SIM_MAX_DIFF) * (1 - 2 * (rand() % 2)));

	gas_res_val->val1 = sim_val;
	gas_res_val->val2 = 0;
#endif

	return 0;
}

int env_sensor_init(void)
{
	if (!device_is_ready(env_sensor_dev)) {
		LOG_ERR("Environment sensor device not ready");
		return -ENODEV;
	}

	return 0;
}
```

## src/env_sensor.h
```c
/*
 * Copyright (c) 2026 Nordic Semiconductor ASA
 *
 * SPDX-License-Identifier: LicenseRef-Nordic-5-Clause
 */

#ifndef ENV_SENSOR_H__
#define ENV_SENSOR_H__

#include <zephyr/kernel.h>
#include <zephyr/drivers/sensor.h>

#ifdef __cplusplus
extern "C" {
#endif

/**
 * @brief Read the current temperature. Unit: [degree C].
 *
 * @param[out] temp_val Pointer to sensor_value struct where the temperature
 *             value is stored.
 * @return int 0 if successful, negative error code if not.
 */
int env_sensor_read_temperature(struct sensor_value *temp_val);

/**
 * @brief Read the current air pressure. Unit: [kPa].
 *
 * @param[out] press_val Pointer to sensor_value struct where the air pressure
 *             value is stored.
 * @return int 0 if successful, negative error code if not.
 */
int env_sensor_read_pressure(struct sensor_value *press_val);

/**
 * @brief Read the current air humidity. Unit: [%]
 *
 * @param[out] humid_val Pointer to sensor_value struct where the air humidity
 *             value is stored.
 * @return int 0 if successful, negative error code if not.
 */
int env_sensor_read_humidity(struct sensor_value *humid_val);

/**
 * @brief Read the current gas resistance. Can be used as a
 *        measure for air quality. Unit: [Ohm].
 *
 * @param[out] gas_res_val Pointer to sensor_value struct where the gas
 *             resistance value is stored.
 * @return int 0 if successful, negative error code if not.
 */
int env_sensor_read_gas_resistance(struct sensor_value *gas_res_val);

/**
 * @brief Initialize the environment sensor.
 *
 * @return int 0 if successful, negative error code if not.
 */
int env_sensor_init(void);

#ifdef __cplusplus
}
#endif

#endif /* ENV_SENSOR_H__ */
```

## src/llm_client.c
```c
/*
 * Copyright (c) 2026 Lingao Meng
 *
 * SPDX-License-Identifier: Apache-2.0
 *
 * zbot - LLM Client Implementation
 *
 * Uses Zephyr's BSD-socket API + HTTP client to call OpenAI-compatible APIs.
 * TLS (mbedTLS) is used for HTTPS. The CA certificate bundle must be provided
 * at build time (see ca_cert.h) or TLS verification can be skipped for dev.
 */

#include <zephyr/kernel.h>
#include <zephyr/logging/log.h>
#include <zephyr/net/socket.h>
#include <zephyr/net/tls_credentials.h>
#include <zephyr/net/http/client.h>
#include <string.h>
#include <stdio.h>
#include <errno.h>

#include "certs/openrouter/ca_certificate.h"

#include "llm_client.h"
#include "config.h"
#include "json_util.h"

#if defined(CONFIG_POSIX_API)
#include <zephyr/posix/arpa/inet.h>
#include <zephyr/posix/netdb.h>
#include <zephyr/posix/unistd.h>
#include <zephyr/posix/sys/socket.h>
#endif

LOG_MODULE_REGISTER(zbot_llm, LOG_LEVEL_INF);

/* HTTP request timeout (ms) */
#define LLM_HTTP_TIMEOUT_MS 30000

/*
 * Extract a JSON string value from a buffer.
 * Handles simple cases needed for LLM responses.
 */
/*
 * Parse the OpenAI chat completion response JSON.
 * Handles both regular text responses and tool_call responses.
 */
static int parse_llm_response(const char *json, struct llm_response *resp)
{
	char finish_reason[32] = {0};
	bool has_tool_calls_field = false;
	const char *tc_pos;
	const char *val;
	const char *fn_pos;

	memset(resp, 0, sizeof(*resp));
	resp->finish_reason = LLM_FINISH_ERROR;

	if (!json || json[0] == '\0') {
		LOG_ERR("Empty response body");
		return -ENODATA;
	}

	/* Check for error response */
	if (strstr(json, "\"error\"")) {
		char err_msg[128] = {0};

		json_get_str(json, "message", err_msg, sizeof(err_msg));
		LOG_ERR("LLM API error: %s", err_msg);
		return -EIO;
	}

	/* Extract finish_reason from choices[0].
	 * Some providers return finish_reason=null when tool_calls are present,
	 * so also check for the presence of a "tool_calls" array. */
	json_get_str(json, "finish_reason", finish_reason, sizeof(finish_reason));

	/* Detect tool_calls: must have the field AND it must not be null/empty.
	 * "tool_calls\":null" and "tool_calls\":[]" mean no tool call. */
	tc_pos = strstr(json, "\"tool_calls\"");
	if (tc_pos) {
		/* Skip past the key to the value */
		val = tc_pos + strlen("\"tool_calls\"");
		while (*val == ' ' || *val == ':' || *val == '\t') {
			val++;
		}
		/* Only treat as a real tool call if value starts with '[' (array)
		 * and the array is not empty '[]' */
		if (*val == '[' && *(val + 1) != ']') {
			has_tool_calls_field = true;
		}
	}

	if (strcmp(finish_reason, "tool_calls") == 0 || has_tool_calls_field) {
		resp->finish_reason = LLM_FINISH_TOOL_CALL;
	} else if (strcmp(finish_reason, "length") == 0) {
		resp->finish_reason = LLM_FINISH_LENGTH;
	} else {
		resp->finish_reason = LLM_FINISH_STOP;
	}

	/* Extract content */
	json_get_str(json, "content", resp->content, LLM_CONTENT_MAX_LEN);

	/* Parse tool_calls array if present */
	if (resp->finish_reason == LLM_FINISH_TOOL_CALL) {
		tc_pos = strstr(json, "\"tool_calls\"");
		if (tc_pos) {
			/* Skip to the opening '[' of the array */
			const char *arr = tc_pos + strlen("\"tool_calls\"");

			while (*arr == ' ' || *arr == ':' || *arr == '\t') {
				arr++;
			}
			if (*arr == '[') {
				arr++; /* skip '[' */
			}

			/* Iterate over each object '{' in the array */
			while (*arr != '\0' && *arr != ']' &&
			       resp->tool_call_count < LLM_MAX_TOOL_CALLS) {
				/* Find next '{' */
				while (*arr != '\0' && *arr != '{' && *arr != ']') {
					arr++;
				}
				if (*arr != '{') {
					break;
				}

				struct llm_tool_call *tc =
					&resp->tool_calls[resp->tool_call_count];

				json_get_str(arr, "id", tc->id, sizeof(tc->id));

				fn_pos = strstr(arr, "\"function\"");

				/* Find the closing '}' of this object to limit next search */
				const char *obj_end = arr + 1;
				int depth = 1;

				while (*obj_end != '\0' && depth > 0) {
					if (*obj_end == '{') {
						depth++;
					} else if (*obj_end == '}') {
						depth--;
					}
					obj_end++;
				}

				if (fn_pos && fn_pos < obj_end) {
					json_get_str(fn_pos, "name", tc->name,
							 LLM_TOOL_NAME_MAX_LEN);
					json_get_str(fn_pos, "arguments", tc->arguments,
							 LLM_TOOL_ARGS_MAX_LEN);
				}

				resp->tool_call_count++;
				arr = obj_end;
			}
		}
	}

	return 0;
}

static int build_request_body(llm_messages_cb_t messages_cb, llm_tools_cb_t tools_cb, char *buf,
			      size_t buf_len, void *args)
{
	const size_t tools_key_len = 9; /* ",\"tools\":" */
	size_t pos = 0;
	int tools_n;
	int n;

	n = messages_cb(buf + pos, buf_len - pos, args);
	if (n <= 0) {
		return n < 0 ? n : -EINVAL;
	}

	pos += n;

	if (tools_cb != NULL) {
		if (buf_len - pos < tools_key_len + 2) {
			return -ENOMEM;
		}

		tools_n = tools_cb(buf + pos + tools_key_len, buf_len - pos - tools_key_len, args);
		if (tools_n > 0) {
			memcpy(buf + pos, ",\"tools\":", tools_key_len);
			pos += tools_key_len + tools_n;

			n = snprintf(buf + pos, buf_len - pos, ",\"tool_choice\":\"auto\"");
			if (n < 0 || (size_t)n >= buf_len - pos) {
				return -ENOMEM;
			}

			pos += n;
		} else if (tools_n < 0) {
			return tools_n;
		}
	}

	n = snprintf(buf + pos, buf_len - pos, "}");
	if (n < 0 || (size_t)n >= buf_len - pos) {
		return -ENOMEM;
	}

	pos += n;
	return (int)pos;
}

void llm_client_init(void)
{
	int rc;

	rc = tls_credential_add(CA_CERTIFICATE_TAG, TLS_CREDENTIAL_CA_CERTIFICATE,
				ca_openrouter_certificate, sizeof(ca_openrouter_certificate));
	if (rc < 0 && rc != -EEXIST) {
		LOG_ERR("Failed to add CA certificate: %d", rc);
	}
}

static int resolve_and_connect(const struct llm_config *cfg)
{
	struct addrinfo hints = {
		.ai_flags = AI_NUMERICSERV, /* Let getaddrinfo() set port */
		.ai_socktype = SOCK_STREAM,
	};
	struct addrinfo *res = NULL;
	char port_str[8];
	int sock = -1;
	int rc;
	char peer_addr[INET6_ADDRSTRLEN];

	//hints.ai_family = AF_INET;
	//hints.ai_socktype = SOCK_STREAM;

	snprintf(port_str, sizeof(port_str), "%u", cfg->port);

	rc = getaddrinfo(cfg->endpoint_host, port_str, &hints, &res);
	if (rc != 0) {
		LOG_ERR("DNS resolution failed for %s: %d", cfg->endpoint_host, rc);
		return -EHOSTUNREACH;
	}

	inet_ntop(res->ai_family, &((struct sockaddr_in *)(res->ai_addr))->sin_addr, peer_addr,
		  INET6_ADDRSTRLEN);

	if (cfg->use_tls) {
		sec_tag_t sec_tag_list[] = {CA_CERTIFICATE_TAG};
		int verify;

		sock = socket(res->ai_family, SOCK_STREAM, IPPROTO_TLS_1_2);
		if (sock < 0) {
			LOG_ERR("TLS socket create failed: errno=%d", -errno);
			freeaddrinfo(res);
			return -errno;
		}

		rc = setsockopt(sock, SOL_TLS, TLS_SEC_TAG_LIST,
				      sec_tag_list, sizeof(sec_tag_list));
		if (rc < 0) {
			LOG_ERR("TLS_SEC_TAG_LIST failed: errno=%d", -errno);
			freeaddrinfo(res);
			return -errno;
		}

		verify = cfg->tls_verify ? TLS_PEER_VERIFY_REQUIRED : TLS_PEER_VERIFY_NONE;
		rc = setsockopt(sock, SOL_TLS, TLS_PEER_VERIFY, &verify, sizeof(verify));
		if (rc < 0) {
			LOG_ERR("TLS_PEER_VERIFY failed: errno=%d", -errno);
			freeaddrinfo(res);
			return -errno;
		}

		rc = setsockopt(sock, SOL_TLS, TLS_HOSTNAME,
				      cfg->endpoint_host,
				      strlen(cfg->endpoint_host));
		if (rc < 0) {
			LOG_ERR("TLS_HOSTNAME failed: errno=%d", -errno);
			freeaddrinfo(res);
			return -errno;
		}
	} else {
		sock = socket(AF_INET, SOCK_STREAM, IPPROTO_TCP);
	}

	if (sock < 0) {
		LOG_ERR("Failed to create socket: %d", -errno);
		freeaddrinfo(res);
		return -errno;
	}

	rc = connect(sock, res->ai_addr, res->ai_addrlen);
	freeaddrinfo(res);

	if (rc < 0) {
		LOG_ERR("Connect failed: %d", -errno);
		close(sock);
		return -errno;
	}

	return sock;
}

static int http_response_cb(struct http_response *rsp, enum http_final_call final_data,
			    void *user_data)
{
	ARG_UNUSED(rsp);
	ARG_UNUSED(final_data);
	ARG_UNUSED(user_data);

	return 0;
}

int llm_chat(llm_messages_cb_t messages_cb, llm_tools_cb_t tools_cb, struct llm_response *resp,
	     void *args)
{
	//static const char *referer_header = "HTTP-Referer: https://github.com/LingaoM/zbot\r\n";
	static const char *content_type = "Content-Type: application/json\r\n";
	static const char *title_header = "X-Title: zbot tests\r\n";
	static char provider_header[CONFIG_PROVIDER_ID_MAX_LEN + 32];
	static char auth_header[CONFIG_API_KEY_MAX_LEN + 32];
	static char rsp_body[LLM_RESPONSE_BUF_LEN];
	static char req_body[LLM_REQUEST_BUF_LEN];
	const struct llm_config *cfg;
	struct http_request req = {0};
	int body_len;
	int sock;
	int rc;

	if (!messages_cb || !resp) {
		return -EINVAL;
	}

	cfg = config_get();

	if (!config_has_api_key()) {
		LOG_ERR("API key not set. Use: zbot key <your-api-key>");
		return -EACCES;
	}

	/* Build request body */
	body_len = build_request_body(messages_cb, tools_cb, req_body, sizeof(req_body), args);
	if (body_len < 0) {
		LOG_ERR("Failed to build request body: %d", body_len);
		return body_len;
	}

	/* Connect */
	sock = resolve_and_connect(cfg);
	if (sock < 0) {
		return sock;
	}

	/* Build Authorization header */
	snprintf(auth_header, sizeof(auth_header), "Authorization: Bearer %s\r\n", cfg->api_key);

	/* NOTE: Do NOT set Content-Length manually — Zephyr HTTP client adds it
	 * automatically from payload_len. A duplicate Content-Length causes HTTP 400. */

	/* Build X-Model-Provider-Id header (only if provider_id is set) */
	provider_header[0] = '\0';
	if (cfg->provider_id[0] != '\0') {
		snprintf(provider_header, sizeof(provider_header), "X-Model-Provider-Id: %s\r\n",
			 cfg->provider_id);
	}

	/* Prepare HTTP request */
	const char *extra_headers[] = {
		auth_header,
		content_type,
		//referer_header,
		title_header,
		cfg->provider_id[0] ? provider_header : NULL,
		NULL,
	};

	/* Prepare receive buffer and response struct */
	memset(rsp_body, 0, sizeof(rsp_body));

	req.method = HTTP_POST;
	req.url = cfg->endpoint_path;
	req.host = cfg->endpoint_host;
	req.protocol = "HTTP/1.1";
	req.header_fields = extra_headers;
	req.response = http_response_cb;
	req.payload = req_body;
	req.payload_len = (size_t)body_len;
	req.recv_buf = rsp_body;
	req.recv_buf_len = sizeof(rsp_body) - 1;

	LOG_DBG("Sending LLM request to %s%s", cfg->endpoint_host, cfg->endpoint_path);

	rc = http_client_req(sock, &req, LLM_HTTP_TIMEOUT_MS, NULL);
	// close(sock); // Don't close the socket as it might be reused

	if (rc < 0) {
		LOG_ERR("HTTP request failed: %d", rc);
		goto clear;
	}

	resp->http_status = req.internal.response.http_status_code;

	/* Parse the response JSON */
	rc = parse_llm_response(rsp_body, resp);
clear:
	close(sock); // Don't close the socket as it might be reused
	return rc;
}
```
